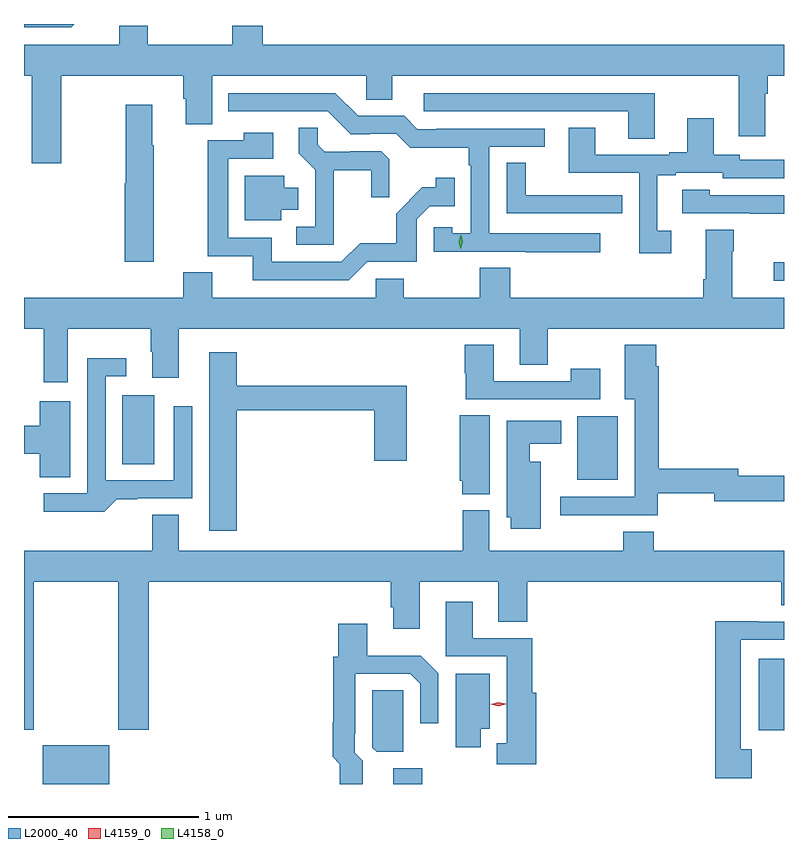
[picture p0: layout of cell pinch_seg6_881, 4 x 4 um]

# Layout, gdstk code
import gdstk
lib = gdstk.Library(unit=1e-6, precision=1e-09)
def R(c, l, rs):  # rectangles x0, y0, x1, y1
    for r in rs: c.add(gdstk.rectangle(r[:2], r[2:], *l))
def P(c, l, *ps):  # polygons
    for p in ps: c.add(gdstk.Polygon(p, *l))
L2000_40 = (2000, 40)
L4158_0 = (4158, 0)
L4159_0 = (4159, 0)

pinch_seg6_881 = lib.new_cell('pinch_seg6_881')
R(pinch_seg6_881, L2000_40, [(369.824,915.636,370.174,915.841), (371.669,915.636,371.822,915.72), (373.592,915.918,373.726,916.294), (372.638,917.237,372.85,917.572), (370.244,917.32,370.411,917.683), (373.671,918.285,373.726,918.381)])
P(pinch_seg6_881, L2000_40, [(369.991,919.636),(369.726,919.636),(369.726,919.62),(369.975,919.62)],
  [(370.982,919.626),(370.822,919.626),(370.822,919.528),(370.377,919.528),(370.377,919.626),(370.226,919.626),(370.226,919.528),(369.726,919.528),(369.726,919.364),(369.766,919.364),(369.766,918.903),(369.921,918.903),(369.921,919.364),(370.565,919.364),(370.565,919.242),(370.577,919.242),(370.577,919.108),(370.717,919.108),(370.717,919.364),(371.526,919.364),(371.526,919.237),(371.665,919.237),(371.665,919.364),(373.487,919.364),(373.487,919.044),(373.627,919.044),(373.627,919.268),(373.64,919.268),(373.64,919.364),(373.726,919.364),(373.726,919.528),(370.982,919.528)],
  [(373.045,919.272),(371.829,919.272),(371.829,919.176),(372.905,919.176),(372.905,919.033),(373.045,919.033)],
  [(372.76,918.534),(372.174,918.534),(372.174,918.99),(372.466,918.99),(372.466,919.086),(371.896,919.086),(371.896,919.083),(371.796,919.083),(371.727,919.152),(371.484,919.152),(371.364,919.272),(370.802,919.272),(370.802,919.176),(371.325,919.176),(371.445,919.056),(371.546,919.056),(371.546,919.059),(371.685,919.059),(371.758,918.986),(372.066,918.986),(372.066,918.893),(372.078,918.893),(372.078,918.535),(371.979,918.535),(371.979,918.567),(371.883,918.567),(371.883,918.438),(372.367,918.438),(372.367,918.436),(372.76,918.436)],
  [(370.41,918.997),(370.402,918.997),(370.402,919.21),(370.261,919.21),(370.261,918.797),(370.256,918.797),(370.256,918.384),(370.41,918.384)],
  [(373.132,918.549),(373.06,918.549),(373.06,918.84),(373.156,918.84),(373.156,918.852),(373.404,918.852),(373.404,918.825),(373.726,918.825),(373.726,918.921),(373.494,918.921),(373.494,918.948),(373.357,918.948),(373.357,919.141),(373.217,919.141),(373.217,918.961),(373.121,918.961),(373.121,918.948),(372.733,918.948),(372.733,919.091),(372.593,919.091),(372.593,918.852),(372.963,918.852),(372.963,918.429),(373.132,918.429)],
  [(371.357,918.866),(371.554,918.866),(371.554,918.723),(371.648,918.723),(371.648,918.925),(371.607,918.966),(371.442,918.966),(371.442,918.963),(371.308,918.963),(371.271,919),(371.271,919.091),(371.173,919.091),(371.173,918.955),(371.259,918.869),(371.259,918.57),(371.16,918.57),(371.16,918.474),(371.357,918.474)],
  [(371.532,918.384),(371.793,918.384),(371.793,918.609),(371.862,918.678),(371.993,918.678),(371.993,918.826),(371.892,918.826),(371.892,918.776),(371.822,918.776),(371.685,918.638),(371.685,918.483),(371.496,918.483),(371.397,918.384),(371.029,918.384),(371.029,918.51),(370.8,918.51),(370.8,918.927),(371.038,918.927),(371.038,919.063),(370.882,919.063),(370.882,919.023),(370.692,919.023),(370.692,918.414),(370.931,918.414),(370.931,918.288),(371.436,918.288)],
  [(372.874,918.734),(372.761,918.734),(372.761,918.735),(372.366,918.735),(372.366,918.905),(372.267,918.905),(372.267,918.639),(372.874,918.639)],
  [(371.08,918.659),(371.17,918.659),(371.17,918.775),(371.095,918.775),(371.095,918.838),(370.889,918.838),(370.889,918.602),(371.08,918.602)],
  [(373.726,918.735),(373.335,918.735),(373.335,918.763),(373.191,918.763),(373.191,918.639),(373.549,918.639),(373.549,918.637),(373.726,918.637)],
  [(369.955,918.032),(370.393,918.032),(370.393,917.912),(370.4,917.912),(370.4,917.775),(370.54,917.775),(370.54,918.032),(372.335,918.032),(372.335,917.842),(372.483,917.842),(372.483,918.032),(373.726,918.032),(373.726,918.196),(373.453,918.196),(373.453,918.44),(373.461,918.44),(373.461,918.553),(373.313,918.553),(373.313,918.292),(373.301,918.292),(373.301,918.196),(372.284,918.196),(372.284,918.353),(372.124,918.353),(372.124,918.196),(371.724,918.196),(371.724,918.294),(371.577,918.294),(371.577,918.196),(370.717,918.196),(370.717,918.329),(370.565,918.329),(370.565,918.196),(369.726,918.196),(369.726,918.032),(369.83,918.032),(369.83,917.751),(369.955,917.751)],
  [(373.062,917.166),(373.358,917.166),(373.358,917.123),(373.726,917.123),(373.726,917.258),(373.486,917.258),(373.486,917.294),(373.067,917.294),(373.067,917.834),(373.054,917.834),(373.054,917.947),(372.887,917.947),(372.887,917.66),(372.941,917.66),(372.941,917.148),(372.549,917.148),(372.549,917.051),(373.062,917.051)],
  [(372.76,917.821),(372.604,917.821),(372.604,917.757),(372.199,917.757),(372.199,917.947),(372.047,917.947),(372.047,917.799),(372.052,917.799),(372.052,917.661),(372.76,917.661)],
  [(370.847,917.602),(371.57,917.602),(371.57,917.337),(371.74,917.337),(371.74,917.731),(370.847,917.731),(370.847,917.908),(370.7,917.908),(370.7,916.968),(370.847,916.968)],
  [(370.213,917.134),(370.321,917.134),(370.321,917.139),(370.611,917.139),(370.611,917.623),(370.515,917.623),(370.515,917.235),(370.155,917.235),(370.155,917.781),(370.264,917.781),(370.264,917.878),(370.059,917.878),(370.059,917.166),(369.831,917.166),(369.831,917.069),(370.148,917.069)],
  [(369.97,917.65),(369.809,917.65),(369.809,917.522),(369.726,917.522),(369.726,917.375),(369.809,917.375),(369.809,917.251),(369.97,917.251)],
  [(372.178,917.576),(372.02,917.576),(372.02,917.232),(372.032,917.232),(372.032,917.161),(372.178,917.161)],
  [(372.445,917.332),(372.388,917.332),(372.388,917.426),(372.553,917.426),(372.553,917.548),(372.266,917.548),(372.266,917.04),(372.287,917.04),(372.287,916.98),(372.445,916.98)],
  [(369.777,916.7),(370.222,916.7),(370.222,915.921),(370.382,915.921),(370.382,916.7),(371.657,916.7),(371.657,916.567),(371.669,916.567),(371.669,916.452),(371.809,916.452),(371.809,916.7),(372.221,916.7),(372.221,916.489),(372.374,916.489),(372.374,916.7),(373.712,916.7),(373.712,916.576),(373.726,916.576),(373.726,916.864),(373.04,916.864),(373.04,916.963),(372.88,916.963),(372.88,916.864),(372.175,916.864),(372.175,917.076),(372.035,917.076),(372.035,916.864),(370.54,916.864),(370.54,917.054),(370.4,917.054),(370.4,916.864),(369.726,916.864),(369.726,915.921),(369.777,915.921)],
  [(372.422,916.116),(372.401,916.116),(372.401,916.404),(372.088,916.404),(372.088,916.594),(371.945,916.594),(371.945,916.308),(372.266,916.308),(372.266,915.85),(372.215,915.85),(372.215,915.74),(372.422,915.74)],
  [(373.555,915.818),(373.498,915.818),(373.498,916.395),(373.726,916.395),(373.726,916.491),(373.594,916.491),(373.594,916.493),(373.364,916.493),(373.364,915.665),(373.555,915.665)],
  [(371.509,915.758),(371.466,915.801),(371.466,915.901),(371.469,915.901),(371.469,916.215),(371.76,916.215),(371.811,916.164),(371.811,915.957),(371.907,915.957),(371.907,916.218),(371.813,916.312),(371.533,916.312),(371.533,916.48),(371.381,916.48),(371.381,916.305),(371.353,916.305),(371.353,915.962),(371.351,915.962),(371.351,915.78),(371.389,915.741),(371.389,915.636),(371.509,915.636)],
  [(372.13,915.926),(372.178,915.926),(372.178,916.216),(371.999,916.216),(371.999,915.83),(372.13,915.83)],
  [(371.722,916.019),(371.721,916.019),(371.721,916.13),(371.559,916.13),(371.559,915.828),(371.583,915.805),(371.722,915.805)])
P(pinch_seg6_881, L4158_0, [(372.024,918.453),(372.015,918.489),(372.025,918.525),(372.026,918.525),(372.026,918.525),(372.035,918.489),(372.025,918.453),(372.025,918.453)])
P(pinch_seg6_881, L4159_0, [(372.222,916.046),(372.182,916.055),(372.182,916.055),(372.182,916.055),(372.221,916.066),(372.261,916.058),(372.261,916.057),(372.261,916.057)])

lib.write_gds('pinch_seg6_881.gds')
